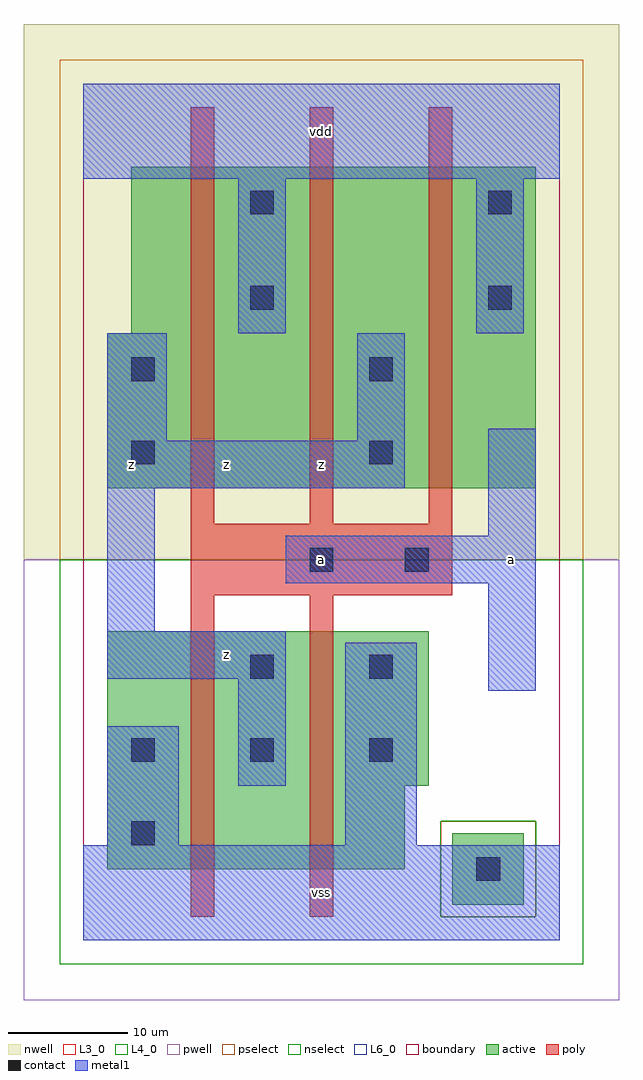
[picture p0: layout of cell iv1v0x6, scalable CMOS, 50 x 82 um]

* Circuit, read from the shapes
.subckt iv1v0x6 a vdd vss z
M1 z a vss vss nfet w=20u l=2u m=2
M2 vdd a z n1 pfet w=27u l=2u m=3
.ends

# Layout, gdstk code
import gdstk
lib = gdstk.Library(unit=1e-6, precision=1e-09)
def R(c, l, rs):  # rectangles x0, y0, x1, y1
    for r in rs: c.add(gdstk.rectangle(r[:2], r[2:], *l))
def A(c, l, x, y, w, h, nx, ny, dx, dy):  # array of equal rectangles
    R(c, l, [(x+i*dx, y+j*dy, x+i*dx+w, y+j*dy+h) for i in range(nx) for j in range(ny)])
L3_0 = (3, 0)
L4_0 = (4, 0)
L6_0 = (6, 0)
contact = (25, 0)
pwell = (41, 0)
nwell = (42, 0)
active = (43, 0)
pselect = (44, 0)
nselect = (45, 0)
poly = (46, 0)
metal1 = (49, 0)
boundary = (63, 0)

iv1v0x6 = lib.new_cell('iv1v0x6')
R(iv1v0x6, L3_0, [(2,6,27,13), (2,13,29,26)])
R(iv1v0x6, L4_0, [(2,38,38,51), (4,51,38,65)])
R(iv1v0x6, L6_0, [(31,3,37,9)])
A(iv1v0x6, contact, 4, 15, 2, 2, 3, 1, 10, 0)
R(iv1v0x6, contact, [(33,5,35,7), (4,8,6,10), (14,22,16,24), (24,22,26,24), (19,31,21,33), (27,31,29,33), (4,40,6,42), (24,40,26,42), (4,47,6,49), (24,47,26,49), (14,53,16,55), (34,53,36,55), (14,61,16,63), (34,61,36,63)])
R(iv1v0x6, pwell, [(-5,-5,45,32)])
R(iv1v0x6, nwell, [(-5,32,45,77)])
R(iv1v0x6, active, [(31,3,37,9), (2,6,27,13), (2,13,29,26), (2,38,38,51), (4,51,38,65)])
R(iv1v0x6, pselect, [(30,2,38,10), (-2,32,42,74)])
R(iv1v0x6, nselect, [(-2,-2,42,2), (-2,2,30,10), (38,2,42,10), (-2,10,42,32)])
A(iv1v0x6, poly, 9, 35, 2, 35, 3, 1, 10, 0)
R(iv1v0x6, poly, [(9,2,11,29), (19,2,21,29), (9,29,31,35)])
R(iv1v0x6, metal1, [(0,0,40,8), (2,8,8,18), (22,8,28,25), (13,13,17,22), (34,21,38,30), (2,22,17,26), (2,26,6,38), (17,30,38,34), (34,34,38,43), (2,38,27,42), (2,42,7,51), (23,42,27,51), (13,51,17,64), (33,51,37,64), (0,64,40,72)])
R(iv1v0x6, boundary, [(0,0,40,72)])
iv1v0x6.add(gdstk.Label('z', (4,40), layer=49, texttype=0))
iv1v0x6.add(gdstk.Label('z', (12,24), layer=49, texttype=0))
iv1v0x6.add(gdstk.Label('z', (12,40), layer=49, texttype=0))
iv1v0x6.add(gdstk.Label('vss', (20,4), layer=49, texttype=0))
iv1v0x6.add(gdstk.Label('a', (20,32), layer=49, texttype=0))
iv1v0x6.add(gdstk.Label('z', (20,40), layer=49, texttype=0))
iv1v0x6.add(gdstk.Label('vdd', (20,68), layer=49, texttype=0))
iv1v0x6.add(gdstk.Label('a', (36,32), layer=49, texttype=0))

lib.write_gds('iv1v0x6.gds')
